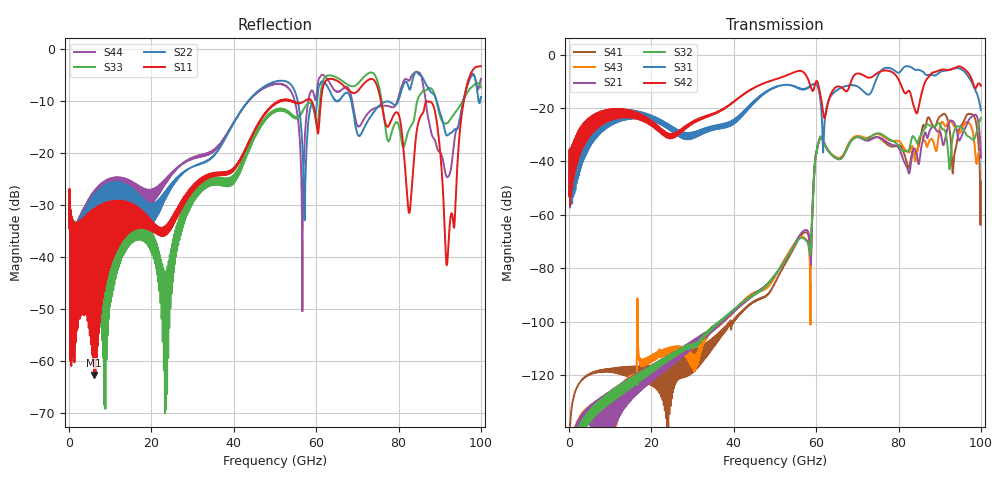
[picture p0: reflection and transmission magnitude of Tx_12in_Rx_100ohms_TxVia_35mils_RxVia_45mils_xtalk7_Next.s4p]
! Info: Touchstone file created by Circ.  Input file=Tx_12in_Rx_100ohms_TxVia_35mils_RxVia_45mils.circ
# Hz S RI R 50
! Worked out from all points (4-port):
!   10000 points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, 10 MHz to 100 GHz, reference 50 ohm
!   strongest paths, dB at 10 MHz, 25.01 GHz, 50.01 GHz, 75.01 GHz, 100 GHz:
!     S42: -52.5, -30.7, -9.2, -6.7, -11.6
!     S31: -53.1, -28.8, -12.1, -7.9, -20.7
!     S32: -180.0, -112.6, -82.4, -29.4, -23.7
!     S21: -175.5, -112.0, -82.5, -30.9, -38.6
!     S43: -175.1, -109.8, -83.1, -29.7, -37.3
!     S41: -162.2, -112.8, -85.5, -31.0, -47.6
!   lowest |S11| = -62.7 dB at 6.12 GHz (marker M1), VSWR 1.00, Z = 49.9 + j0.0438 ohm
!   |S11| at or under -10 dB: start of sweep to 51 GHz; 54.32 GHz to 57.19 GHz (2.872 GHz wide, 5.15 % of centre); 75.73 GHz to 95.85 GHz (20.11 GHz wide, 23.4 % of centre)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
1e7  0.0173 0.00777  1.18e-09 1.19e-09  0.000397 0.00217  5.17e-09 5.83e-09
     1.18e-09 1.19e-09  0.0185 0.00744  6.4e-10 7.75e-10  0.000817 0.00222
     0.000397 0.00217  6.4e-10 7.75e-10  0.0179 0.00742  1.24e-09 1.24e-09
     5.17e-09 5.83e-09  0.000817 0.00222  1.24e-09 1.24e-09  0.0183 0.00747
6.12e9  -0.000587 0.000439  -2.06e-07 1.46e-07  0.0211 0.0129  -1.11e-06 -2.29e-07
        -2.06e-07 1.46e-07  0.0237 0.0117  1.23e-07 2.17e-07  0.0338 0.0159
        0.0211 0.0129  1.23e-07 2.17e-07  -0.00415 -0.00199  -2.2e-07 1.28e-07
        -1.11e-06 -2.29e-07  0.0338 0.0159  -2.2e-07 1.28e-07  0.0269 0.0132
5.087e10  0.0882 0.297  1.28e-05 -9.01e-05  0.1758 0.191  1.52e-05 -7.07e-05
          1.28e-05 -9.01e-05  0.4497 0.2032  1.89e-06 -9.28e-05  0.3448 -0.1114
          0.1758 0.191  1.89e-06 -9.28e-05  0.0878 0.2441  -2.25e-06 -9.27e-05
          1.52e-05 -7.07e-05  0.3448 -0.1114  -2.25e-06 -9.27e-05  0.4273 0.1762
6.092e10  0.2006 0.1428  0.021 0.0188  -0.1647 -0.02  0.0204 0.0182
          0.021 0.0188  0.4276 -0.1631  0.022 0.0173  0.0438 0.1897
          -0.1647 -0.02  0.022 0.0173  0.2288 0.2248  0.0214 0.0169
          0.0204 0.0182  0.0438 0.1897  0.0214 0.0169  0.4982 -0.1937
7.339e10  -0.2866 -0.4291  -0.0101 0.0238  -0.00683 0.1999  -0.00892 0.0252
          -0.0101 0.0238  -0.0549 0.2221  -0.0104 0.0276  0.3083 -0.2157
          -0.00683 0.1999  -0.0104 0.0276  -0.3762 -0.4615  -0.00906 0.0285
          -0.00892 0.0252  0.3083 -0.2157  -0.00906 0.0285  -0.0723 0.2479
9.178e10  0.00603 -0.00596  -0.0356 -0.0178  0.4133 -0.2948  0.0385 0.0526
          -0.0356 -0.0178  0.1441 0.0314  0.00387 0.0232  0.4051 -0.3171
          0.4133 -0.2948  0.00387 0.0232  0.1888 -0.0381  -0.05 -0.00226
          0.0385 0.0526  0.4051 -0.3171  -0.05 -0.00226  0.058 0.00878
1e11  -0.573 0.371  -0.0117 0.00141  0.0627 0.067  -0.00275 -0.00316
      -0.0117 0.00141  -0.3443 0.0316  0.0223 0.0611  0.0185 0.261
      0.0627 0.067  0.0223 0.0611  -0.3069 0.2988  -0.00864 -0.0105
      -0.00275 -0.00316  0.0185 0.261  -0.00864 -0.0105  -0.5122 0.0748
